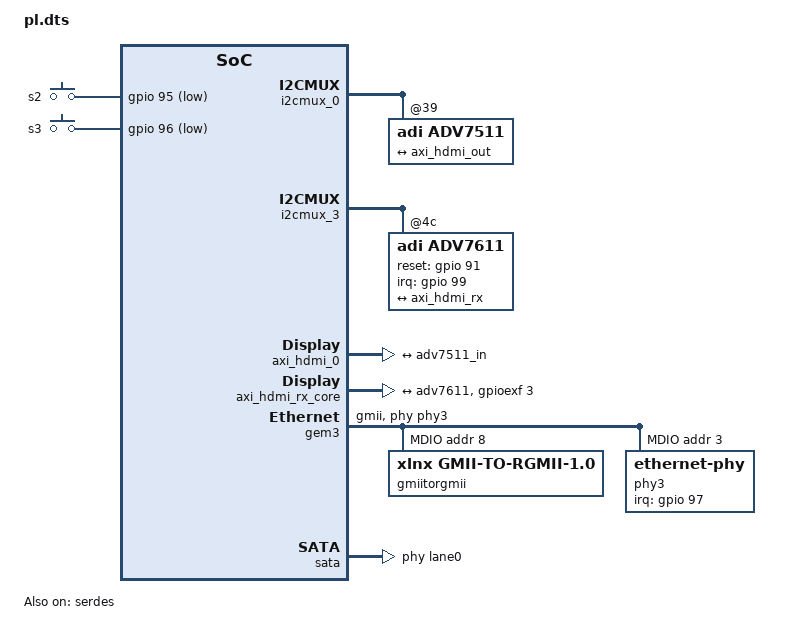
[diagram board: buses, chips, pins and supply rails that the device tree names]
/* Overlay devicetree for the programmable logic part of the florida-gen board */
/dts-v1/;
/plugin/;

#include <dt-bindings/input/input.h>
#include <dt-bindings/gpio/gpio.h>
#include <dt-bindings/phy/phy.h>
#include <dt-bindings/clock/xlnx-zynqmp-clk.h>

/ {
	/* This fragment causes the FPGA image to load */
	fragment@0 {
		target = <&fpga_full>;
		__overlay__ {
			firmware-name = "fpga.bin.fpga-image-pr-reference";
		};
	};

	fragment@1 {
		/* On-board push buttons connected to EMIO GPIO 4 and 5 in reference design */
		target-path = "/";
		__overlay__ {
			gpio-keys-emio {
				compatible = "gpio-keys";
				/* On-board push buttons in reference design */
				s2 {
					label = "s2";
					gpios = <&gpio 95 1>; /* EMIO 17, active low */
					linux,code = <60>; /* KEY_F2 */
					gpio-key,wakeup;
				};
				s3 {
					label = "s3";
					gpios = <&gpio 96 1>; /* EMIO 18, active low */
					linux,code = <61>; /* KEY_F3 */
					gpio-key,wakeup;
				};
			};
		};
	};

	fragment@2 {
		target = <&i2cmux_0>;
		__overlay__ {
			#address-cells = <1>;
			#size-cells = <0>;
			/* HDMI OUT */
			adv7511: adv7511@39 {
				compatible = "adi,adv7511";
				reg = <0x39>, <0x3f>;
				reg-names = "primary", "edid";
				adi,input-depth = <8>;
				adi,input-colorspace = "rgb";
				adi,input-clock = "1x";
				adi,input-style = <1>;
				adi,input-justification = "right";
				adi,clock-delay = <0>;
				#sound-dai-cells = <0>;

				ports {
					#address-cells = <1>;
					#size-cells = <0>;
					port@0 {
						reg = <0>;
						adv7511_in: endpoint {
							remote-endpoint = <&axi_hdmi_out>;
						};
					};
					port@1 {
						reg = <1>; /* HDMI monitor */
					};
					port@2 {
						reg = <2>; /* Audio link */
					};
				};
			};
		};
	};

	fragment@3 {
		target = <&i2cmux_3>;
		__overlay__ {
			#address-cells = <1>;
			#size-cells = <0>;
			/* HDMI IN */
			adv7611@4c {
				compatible = "adi,adv7611";
				reg = <0x4c>;
				#address-cells = <0x1>;
				#size-cells = <0x0>;
				interrupt-parent = <&gpio>;
				interrupts = <99 4>; /* EMIO 21 */
				adi,int1-config = <1>; /* ADV76XX_INT1_CONFIG_ACTIVE_LOW */
				reset-gpios = <&gpio 91 0>; /* EMIO 13 */
				port@0 {
					reg = <0x0>;
				};
				port@1 {
					reg = <0x1>;
					adv7611: endpoint {
						remote-endpoint = <&axi_hdmi_rx>;
						bus-width = <24>;
						hsync-active = <0>; /* Parallel bus */
						vsync-active = <0>;
					};
				};
			};
		};
	};

	fragment@4 {
		target = <&amba>;
		__overlay__ {
			#address-cells = <2>;
			#size-cells = <2>;
			interrupt-parent = <&gic>;
			axi_vdma_0: axivdma@a0040000 {
				compatible = "xlnx,axi-vdma-1.00.a";
				reg = <0x0 0xa0040000 0x0 0x10000>;
				#address-cells = <1>;
				#size-cells = <1>;
				#dma-cells = <1>;
				#dma-channels = <1>;
				clock-names = "s_axi_lite_aclk", "m_axi_mm2s_aclk", "m_axi_mm2s_aclk";
				clocks = <&zynqmp_clk PL0_REF>, <&zynqmp_clk PL1_REF>, <&zynqmp_clk PL1_REF>;
				interrupt-parent = <&gic>;
				interrupts = <0 89 4>;
				dma-ranges = <0x00000000 0x00000000 0x80000000>;
				xlnx,num-fstores = <3>;
				xlnx,flush-fsync = <1>;
				xlnx,addrwidth = <32>;
				dma-channel@a0040000 {
					compatible = "xlnx,axi-vdma-mm2s-channel";
					interrupts = <0 89 4>; /* pl_ps_0[0] */
					xlnx,datawidth = <64>;
					xlnx,device-id = <0x0>;
				};
			};

			axi_hdmi_0: axi_hdmi@a0030000 {
				compatible = "adi,axi-hdmi-tx-1.00.a";
				reg = <0x0 0xa0030000 0x0 0x10000>;
				adi,is-rgb;
				dmas = <&axi_vdma_0 0>;
				dma-names = "video";
				clocks = <&clockgen 3>;
				port {
					axi_hdmi_out: endpoint {
						remote-endpoint = <&adv7511_in>;
					};
				};
			};

			axi_hdmi_rx_core: axi-hdmi-rx@a0020000 {
				compatible = "adi,axi-hdmi-rx-1.00.a";
				reg = <0x0 0xa0020000 0x0 0x10000>;
				dmas = <&axi_dmac 0>;
				dma-names = "rx";
				gpios = <&gpioexf 3 0>; /* HPD, hotplug control (?) */

				port {
					#address-cells = <0>;
					#size-cells = <0>;

					axi_hdmi_rx: endpoint {
						remote-endpoint = <&adv7611>;
						bus-width = <24>;
					};
				};
			};

			axi_dmac: dmac@a0000000 {
				compatible = "adi,axi-dmac-1.00.a";
				reg = <0x0 0xa0000000 0x0 0x10000>;
				#dma-cells = <1>;
				interrupt-parent = <&gic>;
				interrupts = <0 90 4>; /* pl_ps_0[1] */
				clocks = <&zynqmp_clk PL0_REF>;

				adi,channels {
					#size-cells = <0>;
					#address-cells = <1>;
					dma-channel@0 {
						reg = <0>;
						adi,source-bus-width = <64>;
						adi,source-bus-type = <2>;
						adi,destination-bus-width = <64>;
						adi,destination-bus-type = <0>;
					};
				};
			};

			dyplo: dyplo@a0400000 {
				compatible = "topic,dyplo-1.00.a";
				reg = <0x0 0xA0400000 0x0 0x200000>;
				interrupt-parent = <&gic>;
				interrupts = <0 111 4>; /* pl_ps_irq1[7] */
				dma-coherent; /* HPC port with AxCACHE=0b1111 AxPROT=0b010*/
			};
		};
	};

	/* Ethernet PHY via EMIO. Logic contains a GMII to RGMII conversion, so
	 * the emac should see a GMII interface */
	fragment@5 {
		target = <&gem3>;
		__overlay__ {
			status = "okay";
			phy-handle = <&phy3>;
			phy-mode = "gmii";
			/* gem3 is the eth0 controller, hence we'll use the "0" mac for that */
			nvmem-cells = <&gem0_mac>;
			nvmem-cell-names = "mac-address";

			mdio {
				#address-cells = <1>;
				#size-cells = <0>;

				gmiitorgmii: gmiitorgmii@8 {
					compatible = "xlnx,gmii-to-rgmii-1.0";
					reg = <0x8>;
					phy-handle = <&phy3>;
				};

				phy3: ethernet-phy@3 {
					/* PHY on the board */
					device_type = "ethernet-phy";
					reg = <0x3>;
					interrupt-parent = <&gpio>;
					interrupts = <97 0x8>; /* GPIO 78+16+3, IRQ_TYPE_LEVEL_LOW */
					rxc-skew-ps = <1080>; /* Skew RX clock pad by 180 ps */
					txc-skew-ps = <840>;  /* Skew TX clock pad by -60 ps */
				};
			};
		};
	};

	fragment@6 {
		target = <&serdes>;
		__overlay__ {
			status = "okay";
		};
	};

	fragment@7 {
		target = <&sata>;
		__overlay__ {
			status = "okay";
			/* SATA OOB timing settings */
			ceva,p0-cominit-params = /bits/ 8 <0x18 0x40 0x18 0x28>;
			ceva,p0-comwake-params = /bits/ 8 <0x06 0x14 0x08 0x0E>;
			ceva,p0-burst-params = /bits/ 8 <0x13 0x08 0x4A 0x06>;
			ceva,p0-retry-params = /bits/ 16 <0x96A4 0x3FFC>;
			ceva,p1-cominit-params = /bits/ 8 <0x18 0x40 0x18 0x28>;
			ceva,p1-comwake-params = /bits/ 8 <0x06 0x14 0x08 0x0E>;
			ceva,p1-burst-params = /bits/ 8 <0x13 0x08 0x4A 0x06>;
			ceva,p1-retry-params = /bits/ 16 <0x96A4 0x3FFC>;
			/* For now, only try one instance */
			phy-names = "sata-phy", "sata-phy";
			/* Use refclock 0 at 150MHz for both instances */
			phys = <&lane0 PHY_TYPE_SATA 0 0 150000000>,
			       <&lane1 PHY_TYPE_SATA 1 0 150000000>;
			/* Using SI514 on miami through logic as REFCLK0. Must be programmed to 150MHz. */
			assigned-clocks = <&si514s>;
			assigned-clock-rates = <150000000>;
			/* Apparently doesn't work this way? */
			clocks = <&si514s>;
		};
	};
};
